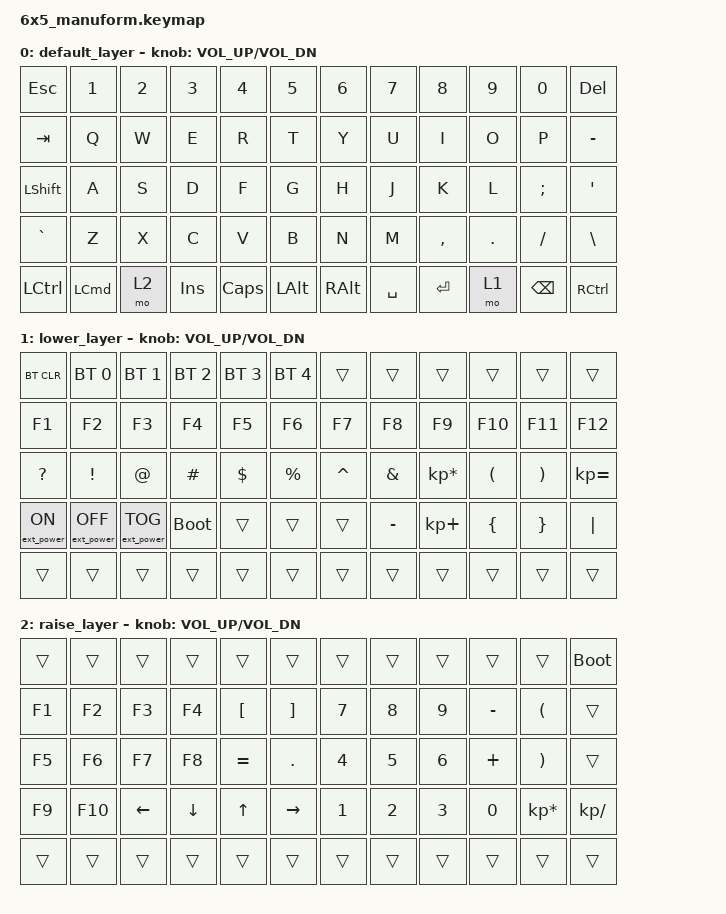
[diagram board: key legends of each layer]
/*
 * Copyright (c) 2020 The ZMK Contributors
 *
 * SPDX-License-Identifier: MIT
 */

#include <behaviors.dtsi>
#include <dt-bindings/zmk/bt.h>
#include <dt-bindings/zmk/ext_power.h>
#include <dt-bindings/zmk/keys.h>

/ {
    keymap {
        compatible = "zmk,keymap";

        default_layer {
            // ------------------------------------------------------------------------------------------------------------
            // |  ESC   |  1  |  2  |  3   |  4   |  5   |                    |  6   |  7    |  8    |  9   |   0   |   `   |
            // |  TAB   |  Q  |  W  |  E   |  R   |  T   |                    |  Y   |  U    |  I    |  O   |   P   |   -   |
            // |  CTRL  |  A  |  S  |  D   |  F   |  G   |                    |  H   |  J    |  K    |  L   |   ;   |   '   |
            // | SHIFT  |  Z  |  X  |  C   |  V   |  B   |                    |  N   |  M    |  ,    |  .   |   /   | SHIFT |
            // |    2   |  2  | f   | 6    | 4    | 1    |                    | 2    | 1     | w     | s    | n     |  a    |

            bindings = <
  &kp ESC            &kp N1  &kp N2      &kp N3        &kp N4    &kp N5    &kp N6     &kp N7     &kp N8   &kp N9         &kp N0  &kp DELETE
  &kp TAB             &kp Q   &kp W       &kp E         &kp R     &kp T     &kp Y      &kp U      &kp I    &kp O          &kp P   &kp MINUS
&kp LSHFT             &kp A   &kp S       &kp D         &kp F     &kp G     &kp H      &kp J      &kp K    &kp L       &kp SEMI     &kp SQT
&kp GRAVE             &kp Z   &kp X       &kp C         &kp V     &kp B     &kp N      &kp M  &kp COMMA  &kp DOT       &kp FSLH    &kp BSLH
&kp LCTRL  &kp LEFT_COMMAND   &mo 2  &kp INSERT  &kp CAPSLOCK  &kp LALT  &kp RALT  &kp SPACE  &kp ENTER    &mo 1  &kp BACKSPACE   &kp RCTRL
            >;

            sensor-bindings = <&inc_dec_kp C_VOL_UP C_VOL_DN>;
        };

        lower_layer {
            // ------------------------------------------------------------------------------------------------------------
            // | BTCLR | BT1 | BT2 |  BT3 |  BT4 |  BT5 |                   |      |       |       |      |       |       |
            // |  F1   |  F2 |  F3 |  F4  |  F5  |  F6  |                   |  F7  |  F8   |  F9   |  F10 |  F11  |  F12  |
            // |   `   |  !  |  @  |  #   |  $   |  %   |                   |  ^   |  &    |  *    |  (   |   )   |   ~   |
            // |       |     |     |      |      |      |                   |      |  _    |  +    |  {   |   }   |  "|"  |
            // |       |     |     |      |      |      |                   |      |       |       |      |       |       |

            bindings = <
      &bt BT_CLR       &bt BT_SEL 0       &bt BT_SEL 1  &bt BT_SEL 2  &bt BT_SEL 3  &bt BT_SEL 4     &trans     &trans           &trans    &trans    &trans        &trans
          &kp F1             &kp F2             &kp F3        &kp F4        &kp F5        &kp F6     &kp F7     &kp F8           &kp F9   &kp F10   &kp F11       &kp F12
    &kp QUESTION           &kp EXCL             &kp AT      &kp HASH    &kp DOLLAR     &kp PRCNT  &kp CARET   &kp AMPS  &kp KP_MULTIPLY  &kp LPAR  &kp RPAR  &kp KP_EQUAL
&ext_power EP_ON  &ext_power EP_OFF  &ext_power EP_TOG   &bootloader        &trans        &trans     &trans  &kp MINUS      &kp KP_PLUS  &kp LBRC  &kp RBRC      &kp PIPE
          &trans             &trans             &trans        &trans        &trans        &trans     &trans     &trans           &trans    &trans    &trans        &trans
            >;

            sensor-bindings = <&inc_dec_kp C_VOL_UP C_VOL_DN>;
        };

        raise_layer {
            // ------------------------------------------------------------------------------------------------------------
            // |       |     |     |      |      |      |                   |      |       |       |      |       |       |
            // |   `   |  1  |  2  |  3   |  4   |  5   |                   |  6   |   7   |   8   |  9   |   0   |       |
            // |   F1  |  F2 |  F3 |  F4  |  F5  |  F6  |                   |      |   <-  |   v   |  ^   |  ->   |       |
            // |   F7  |  F8 |  F9 |  F10 |  F11 |  F12 |		             |  +   |   -   |   =   |  [   |   ]   |   \   |
            // |     |     |      |      |      |        |                   |       |      |       |       |      |       |

            bindings = <
&trans   &trans          &trans          &trans            &trans             &trans  &trans  &trans  &trans        &trans                 &trans    &bootloader
&kp F1   &kp F2          &kp F3          &kp F4  &kp LEFT_BRACKET  &kp RIGHT_BRACKET  &kp N7  &kp N8  &kp N9     &kp MINUS   &kp LEFT_PARENTHESIS         &trans
&kp F5   &kp F6          &kp F7          &kp F8         &kp EQUAL         &kp PERIOD  &kp N4  &kp N5  &kp N6      &kp PLUS  &kp RIGHT_PARENTHESIS         &trans
&kp F9  &kp F10  &kp LEFT_ARROW  &kp DOWN_ARROW      &kp UP_ARROW    &kp RIGHT_ARROW  &kp N1  &kp N2  &kp N3  &kp NUMBER_0        &kp KP_MULTIPLY  &kp KP_DIVIDE
&trans   &trans          &trans          &trans            &trans             &trans  &trans  &trans  &trans        &trans                 &trans         &trans
            >;

            sensor-bindings = <&inc_dec_kp C_VOL_UP C_VOL_DN>;
        };
    };
};
